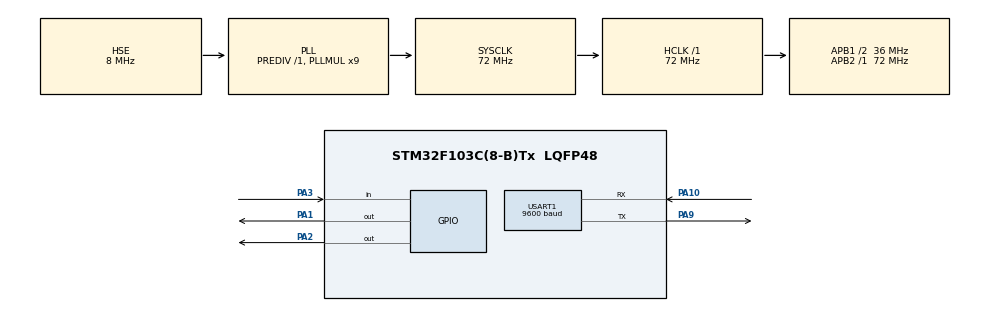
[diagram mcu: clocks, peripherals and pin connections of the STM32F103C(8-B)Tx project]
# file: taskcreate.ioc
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Mcu.Family=STM32F1
Mcu.Name=STM32F103C(8-B)Tx
Mcu.Package=LQFP48
NVIC.PriorityGroup=NVIC_PRIORITYGROUP_4
NVIC.TIM4_IRQn=true\:15\:0\:false\:false\:true\:false\:true\:true
NVIC.TimeBase=TIM4_IRQn
NVIC.TimeBaseIP=TIM4
PA1.Signal=GPIO_Output
PA10.Mode=Asynchronous
PA10.Signal=USART1_RX
PA13.Mode=Serial_Wire
PA13.Signal=SYS_JTMS-SWDIO
PA14.Mode=Serial_Wire
PA14.Signal=SYS_JTCK-SWCLK
PA2.Signal=GPIO_Output
PA3.GPIO_PuPd=GPIO_PULLDOWN
PA3.Signal=GPIO_Input
PA9.Mode=Asynchronous
PA9.Signal=USART1_TX
PC14-OSC32_IN.Mode=LSE-External-Oscillator
PC14-OSC32_IN.Signal=RCC_OSC32_IN
PC15-OSC32_OUT.Mode=LSE-External-Oscillator
PC15-OSC32_OUT.Signal=RCC_OSC32_OUT
PD0-OSC_IN.Mode=HSE-External-Oscillator
PD0-OSC_IN.Signal=RCC_OSC_IN
PD1-OSC_OUT.Mode=HSE-External-Oscillator
PD1-OSC_OUT.Signal=RCC_OSC_OUT
ProjectManager.HeapSize=0x200
ProjectManager.StackSize=0x400
ProjectManager.TargetToolchain=CMake
RCC.AHBFreq_Value=72000000
RCC.APB1CLKDivider=RCC_HCLK_DIV2
RCC.APB1Freq_Value=36000000
RCC.APB1TimFreq_Value=72000000
RCC.APB2Freq_Value=72000000
RCC.APB2TimFreq_Value=72000000
RCC.HCLKFreq_Value=72000000
RCC.PLLMUL=RCC_PLL_MUL9
RCC.PLLSourceVirtual=RCC_PLLSOURCE_HSE
RCC.SYSCLKFreq_VALUE=72000000
RCC.SYSCLKSource=RCC_SYSCLKSOURCE_PLLCLK
RCC.USBFreq_Value=72000000
USART1.BaudRate=9600
USART1.VirtualMode=VM_ASYNC
VP_SYS_VS_tim4.Mode=TIM4
board=custom

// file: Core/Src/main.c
/* USER CODE BEGIN Header */
/**
  ******************************************************************************
  * @file           : main.c
  * @brief          : Main program body
  ******************************************************************************
  * @attention
  *
  * Copyright (c) 2026 STMicroelectronics.
  * All rights reserved.
  *
  * This software is licensed under terms that can be found in the LICENSE file
  * in the root directory of this software component.
  * If no LICENSE file comes with this software, it is provided AS-IS.
  *
  ******************************************************************************
  */
/* USER CODE END Header */
#include "main.h"
#include "usart.h"
#include "gpio.h"

/* USER CODE BEGIN Includes */
#include "FreeRTOS.h"
#include "portmacro.h"
#include "projdefs.h"
#include "stm32f103xb.h"
#include "stm32f1xx_hal_gpio.h"
#include "task.h"
#include <stdio.h>
#include <string.h>
/* USER CODE END Includes */

/* USER CODE BEGIN PV */
TaskHandle_t task1_handle = NULL;
TaskHandle_t task2_handle = NULL;
TaskHandle_t task3_handle = NULL;
TaskHandle_t start_task_handler = NULL;
/* USER CODE END PV */

void SystemClock_Config(void);
/* USER CODE BEGIN PFP */
void FreeRTOS_Start(void);
void Start_Task(void *pvParameters);
void Task1(void *argument);
void Task2(void *argument);
void Task3(void *argument);
/* USER CODE END PFP */

int main(void)
{

  /* MCU Configuration--------------------------------------------------------*/

  /* Reset of all peripherals, Initializes the Flash interface and the Systick. */
  HAL_Init();

  /* Configure the system clock */
  SystemClock_Config();

  /* Initialize all configured peripherals */
  MX_GPIO_Init();
  MX_USART1_UART_Init();
  /* USER CODE BEGIN 2 */
  FreeRTOS_Start();
  /* USER CODE END 2 */

  /* Infinite loop */
  while (1)
  {

  }
}

void SystemClock_Config(void)
{
  RCC_OscInitTypeDef RCC_OscInitStruct = {0};
  RCC_ClkInitTypeDef RCC_ClkInitStruct = {0};

  /** Initializes the RCC Oscillators according to the specified parameters
  * in the RCC_OscInitTypeDef structure.
  */
  RCC_OscInitStruct.OscillatorType = RCC_OSCILLATORTYPE_HSE;
  RCC_OscInitStruct.HSEState = RCC_HSE_ON;
  RCC_OscInitStruct.HSEPredivValue = RCC_HSE_PREDIV_DIV1;
  RCC_OscInitStruct.HSIState = RCC_HSI_ON;
  RCC_OscInitStruct.PLL.PLLState = RCC_PLL_ON;
  RCC_OscInitStruct.PLL.PLLSource = RCC_PLLSOURCE_HSE;
  RCC_OscInitStruct.PLL.PLLMUL = RCC_PLL_MUL9;
  if (HAL_RCC_OscConfig(&RCC_OscInitStruct) != HAL_OK)
  {
    Error_Handler();
  }

  /** Initializes the CPU, AHB and APB buses clocks
  */
  RCC_ClkInitStruct.ClockType = RCC_CLOCKTYPE_HCLK|RCC_CLOCKTYPE_SYSCLK
                              |RCC_CLOCKTYPE_PCLK1|RCC_CLOCKTYPE_PCLK2;
  RCC_ClkInitStruct.SYSCLKSource = RCC_SYSCLKSOURCE_PLLCLK;
  RCC_ClkInitStruct.AHBCLKDivider = RCC_SYSCLK_DIV1;
  RCC_ClkInitStruct.APB1CLKDivider = RCC_HCLK_DIV2;
  RCC_ClkInitStruct.APB2CLKDivider = RCC_HCLK_DIV1;

  if (HAL_RCC_ClockConfig(&RCC_ClkInitStruct, FLASH_LATENCY_2) != HAL_OK)
  {
    Error_Handler();
  }
}

/* USER CODE BEGIN 4 */
int __io_putchar(int ch)
{
    uint8_t data = (uint8_t)ch;
    HAL_UART_Transmit(&huart1, &data, 1, HAL_MAX_DELAY);
    return ch;
}

void FreeRTOS_Start(void)
{
    xTaskCreate(Start_Task, "Start_Task", 256, NULL, 1, &start_task_handler);
    vTaskStartScheduler();
}

void Start_Task(void * pvParameters)
{
    taskENTER_CRITICAL();               /* 進入臨界區 */

    xTaskCreate(Task1, "Task1", 128, NULL, 2, &task1_handle);
    xTaskCreate(Task2, "Task2", 128, NULL, 3, &task2_handle);
    xTaskCreate(Task3, "Task3", 128, NULL, 4, &task3_handle);

    vTaskDelete(NULL);
    taskEXIT_CRITICAL();                /* 退出臨界區 */
}

// 實現 LED1 每 500ms 閃爍一次
void Task1(void *argument)
{
    for (;;)
    {
        HAL_GPIO_TogglePin(GPIOA, GPIO_PIN_1);
        vTaskDelay(pdMS_TO_TICKS(500));
    }
}

// 實現 LED2 每 500ms 閃爍一次
void Task2(void *argument)
{
    for (;;)
    {
        HAL_GPIO_TogglePin(GPIOA, GPIO_PIN_2);
        vTaskDelay(pdMS_TO_TICKS(500));
    }
}

// 判斷按鍵 KEY1 是否按下，按下則刪掉 task1
void Task3(void *argument)
{
    for (;;)
    {
      if (HAL_GPIO_ReadPin(GPIOA, GPIO_PIN_3))
      {
        vTaskDelay(pdMS_TO_TICKS(20));
        if (HAL_GPIO_ReadPin(GPIOA, GPIO_PIN_3))
        {
          if (task1_handle != NULL)
          {
            printf("Delete Task1\r\n");
            vTaskDelete(task1_handle);
            HAL_GPIO_WritePin(GPIOA, GPIO_PIN_1, GPIO_PIN_RESET);
            task1_handle = NULL;
          }
          else
          {
            printf("Create Task1\r\n");
            xTaskCreate(Task1, "Task1", 128, NULL, 2, &task1_handle);
          }
          while (HAL_GPIO_ReadPin(GPIOA, GPIO_PIN_3) == GPIO_PIN_SET)
          {
            vTaskDelay(pdMS_TO_TICKS(10));
          }

          vTaskDelay(pdMS_TO_TICKS(20));
        }
      }
      vTaskDelay(pdMS_TO_TICKS(10));
    }
}
/* USER CODE END 4 */

void HAL_TIM_PeriodElapsedCallback(TIM_HandleTypeDef *htim)
{
  if (htim->Instance == TIM4)
  {
    HAL_IncTick();
  }
}

void Error_Handler(void)
{
  __disable_irq();
  while (1)
  {
  }
}
